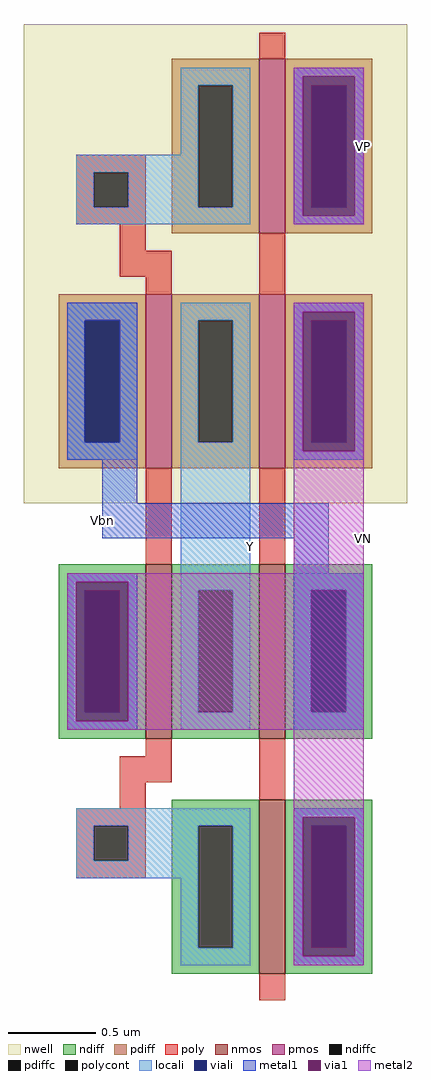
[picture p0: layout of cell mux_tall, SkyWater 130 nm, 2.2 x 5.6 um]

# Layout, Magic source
magic
tech sky130A
<< nwell >>
rect 75 120 295 395
<< nmos >>
rect 145 -15 160 85
rect 210 -15 225 85
rect 210 -150 225 -50
<< pmos >>
rect 210 275 225 375
rect 145 140 160 240
rect 210 140 225 240
<< ndiff >>
rect 95 70 145 85
rect 95 0 110 70
rect 130 0 145 70
rect 95 -15 145 0
rect 160 70 210 85
rect 160 0 175 70
rect 195 0 210 70
rect 160 -15 210 0
rect 225 70 275 85
rect 225 0 240 70
rect 260 0 275 70
rect 225 -15 275 0
rect 160 -65 210 -50
rect 160 -135 175 -65
rect 195 -135 210 -65
rect 160 -150 210 -135
rect 225 -65 275 -50
rect 225 -135 240 -65
rect 260 -135 275 -65
rect 225 -150 275 -135
<< pdiff >>
rect 160 360 210 375
rect 160 290 175 360
rect 195 290 210 360
rect 160 275 210 290
rect 225 360 275 375
rect 225 290 240 360
rect 260 290 275 360
rect 225 275 275 290
rect 95 225 145 240
rect 95 155 110 225
rect 130 155 145 225
rect 95 140 145 155
rect 160 225 210 240
rect 160 155 175 225
rect 195 155 210 225
rect 160 140 210 155
rect 225 225 275 240
rect 225 155 240 225
rect 260 155 275 225
rect 225 140 275 155
<< ndiffc >>
rect 110 0 130 70
rect 175 0 195 70
rect 240 0 260 70
rect 175 -135 195 -65
rect 240 -135 260 -65
<< pdiffc >>
rect 175 290 195 360
rect 240 290 260 360
rect 110 155 130 225
rect 175 155 195 225
rect 240 155 260 225
<< poly >>
rect 210 375 225 390
rect 105 310 145 320
rect 105 290 115 310
rect 135 290 145 310
rect 105 280 145 290
rect 130 265 145 280
rect 130 250 160 265
rect 145 240 160 250
rect 210 240 225 275
rect 145 85 160 140
rect 210 85 225 140
rect 145 -25 160 -15
rect 130 -40 160 -25
rect 130 -55 145 -40
rect 210 -50 225 -15
rect 105 -65 145 -55
rect 105 -85 115 -65
rect 135 -85 145 -65
rect 105 -95 145 -85
rect 210 -165 225 -150
<< polycont >>
rect 115 290 135 310
rect 115 -85 135 -65
<< locali >>
rect 165 360 205 370
rect 165 320 175 360
rect 105 310 175 320
rect 105 290 115 310
rect 135 290 175 310
rect 195 290 205 360
rect 105 280 205 290
rect 230 360 270 370
rect 230 290 240 360
rect 260 290 270 360
rect 230 280 270 290
rect 100 225 140 235
rect 100 155 110 225
rect 130 155 140 225
rect 100 145 140 155
rect 165 225 205 235
rect 165 155 175 225
rect 195 155 205 225
rect 100 70 140 80
rect 100 0 110 70
rect 130 0 140 70
rect 100 -10 140 0
rect 165 70 205 155
rect 230 225 270 235
rect 230 155 240 225
rect 260 155 270 225
rect 230 145 270 155
rect 165 0 175 70
rect 195 0 205 70
rect 165 -10 205 0
rect 230 70 270 80
rect 230 0 240 70
rect 260 0 270 70
rect 230 -10 270 0
rect 105 -65 205 -55
rect 105 -85 115 -65
rect 135 -85 175 -65
rect 105 -95 175 -85
rect 165 -135 175 -95
rect 195 -135 205 -65
rect 165 -145 205 -135
rect 230 -65 270 -55
rect 230 -135 240 -65
rect 260 -135 270 -65
rect 230 -145 270 -135
<< viali >>
rect 240 290 260 360
rect 110 155 130 225
rect 110 0 130 70
rect 240 155 260 225
rect 240 0 260 70
rect 240 -135 260 -65
<< metal1 >>
rect 230 365 270 370
rect 230 285 235 365
rect 265 285 270 365
rect 230 280 270 285
rect 100 225 140 235
rect 100 155 110 225
rect 130 155 140 225
rect 100 145 140 155
rect 230 230 270 235
rect 230 150 235 230
rect 265 150 270 230
rect 230 145 270 150
rect 120 120 140 145
rect 120 100 250 120
rect 230 80 250 100
rect 100 75 140 80
rect 100 -5 105 75
rect 135 -5 140 75
rect 100 -10 140 -5
rect 230 70 270 80
rect 230 0 240 70
rect 260 0 270 70
rect 230 -10 270 0
rect 230 -60 270 -55
rect 230 -140 235 -60
rect 265 -140 270 -60
rect 230 -145 270 -140
<< via1 >>
rect 235 360 265 365
rect 235 290 240 360
rect 240 290 260 360
rect 260 290 265 360
rect 235 285 265 290
rect 235 225 265 230
rect 235 155 240 225
rect 240 155 260 225
rect 260 155 265 225
rect 235 150 265 155
rect 105 70 135 75
rect 105 0 110 70
rect 110 0 130 70
rect 130 0 135 70
rect 105 -5 135 0
rect 235 -65 265 -60
rect 235 -135 240 -65
rect 240 -135 260 -65
rect 260 -135 265 -65
rect 235 -140 265 -135
<< metal2 >>
rect 230 365 270 370
rect 230 285 235 365
rect 265 285 270 365
rect 230 280 270 285
rect 230 230 270 235
rect 230 150 235 230
rect 265 150 270 230
rect 230 80 270 150
rect 100 75 270 80
rect 100 -5 105 75
rect 135 -5 270 75
rect 100 -10 270 -5
rect 230 -60 270 -10
rect 230 -140 235 -60
rect 265 -140 270 -60
rect 230 -145 270 -140
<< labels >>
rlabel metal2 270 100 270 100 3 VN
port 2 e
rlabel metal1 120 110 120 110 7 Vbn
port 3 w
rlabel metal2 270 325 270 325 3 VP
port 4 e
rlabel locali 205 95 205 95 3 Y
port 1 e
<< end >>
